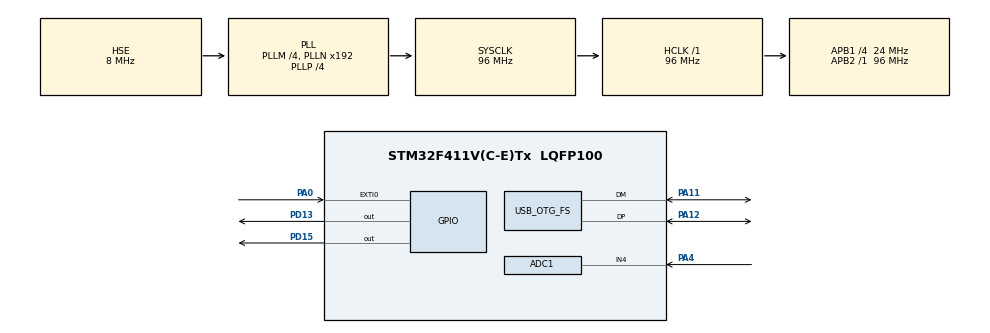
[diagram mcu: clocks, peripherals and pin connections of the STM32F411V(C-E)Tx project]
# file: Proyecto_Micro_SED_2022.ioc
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ADC1.Channel-2\#ChannelRegularConversion=ADC_CHANNEL_4
ADC1.NbrOfConversionFlag=1
ADC1.Rank-2\#ChannelRegularConversion=1
ADC1.Resolution=ADC_RESOLUTION_8B
ADC1.SamplingTime-2\#ChannelRegularConversion=ADC_SAMPLETIME_3CYCLES
ADC1.master=1
Mcu.Family=STM32F4
Mcu.Name=STM32F411V(C-E)Tx
Mcu.Package=LQFP100
NVIC.EXTI0_IRQn=true\:0\:0\:false\:false\:true\:true\:true\:true
NVIC.OTG_FS_IRQn=true\:0\:0\:false\:false\:true\:true\:true\:true
NVIC.PriorityGroup=NVIC_PRIORITYGROUP_0
NVIC.TIM2_IRQn=true\:0\:0\:false\:false\:true\:true\:true\:true
NVIC.TIM3_IRQn=true\:0\:0\:false\:false\:true\:true\:true\:true
PA0-WKUP.Signal=GPXTI0
PA11.Mode=Device_Only
PA11.Signal=USB_OTG_FS_DM
PA12.Mode=Device_Only
PA12.Signal=USB_OTG_FS_DP
PA4.Signal=ADCx_IN4
PC14-OSC32_IN.Mode=LSE-External-Oscillator
PC14-OSC32_IN.Signal=RCC_OSC32_IN
PC15-OSC32_OUT.Mode=LSE-External-Oscillator
PC15-OSC32_OUT.Signal=RCC_OSC32_OUT
PD13.Signal=GPIO_Output
PD15.Signal=GPIO_Output
PH0\ -\ OSC_IN.Mode=HSE-External-Oscillator
PH0\ -\ OSC_IN.Signal=RCC_OSC_IN
PH1\ -\ OSC_OUT.Mode=HSE-External-Oscillator
PH1\ -\ OSC_OUT.Signal=RCC_OSC_OUT
ProjectManager.HeapSize=0x200
ProjectManager.StackSize=0x400
ProjectManager.TargetToolchain=STM32CubeIDE
RCC.48MHZClocksFreq_Value=48000000
RCC.AHBFreq_Value=96000000
RCC.APB1CLKDivider=RCC_HCLK_DIV4
RCC.APB1Freq_Value=24000000
RCC.APB1TimFreq_Value=48000000
RCC.APB2Freq_Value=96000000
RCC.APB2TimFreq_Value=96000000
RCC.CortexFreq_Value=96000000
RCC.HCLKFreq_Value=96000000
RCC.HSE_VALUE=8000000
RCC.HSI_VALUE=16000000
RCC.PLLI2SM=5
RCC.PLLI2SN=200
RCC.PLLM=4
RCC.PLLP=RCC_PLLP_DIV4
RCC.PLLQ=8
RCC.SYSCLKFreq_VALUE=96000000
RCC.SYSCLKSource=RCC_SYSCLKSOURCE_PLLCLK
RCC.VCOOutputFreq_Value=384000000
SH.ADCx_IN4.0=ADC1_IN4,IN4
TIM2.AutoReloadPreload=TIM_AUTORELOAD_PRELOAD_ENABLE
TIM2.Period=3599999
TIM2.Prescaler=47999
TIM3.AutoReloadPreload=TIM_AUTORELOAD_PRELOAD_ENABLE
TIM3.Period=59999
TIM3.Prescaler=47999
TIM5.Period=0xffff-1
TIM5.Prescaler=48-1
USB_DEVICE.CLASS_NAME_FS=CDC
USB_DEVICE.VirtualMode=Cdc
USB_DEVICE.VirtualModeFS=Cdc_FS
USB_OTG_FS.VirtualMode=Device_Only
VP_TIM2_VS_ClockSourceINT.Mode=Internal
VP_TIM3_VS_ClockSourceINT.Mode=Internal
VP_TIM5_VS_ClockSourceINT.Mode=Internal
VP_USB_DEVICE_VS_USB_DEVICE_CDC_FS.Mode=CDC_FS
board=STM32F411E-DISCO

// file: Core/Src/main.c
/* USER CODE BEGIN Header */
/**
  ******************************************************************************
  * @file           : main.c
  * @brief          : Main program body
  ******************************************************************************
  * @attention
  *
  * Copyright (c) 2023 STMicroelectronics.
  * All rights reserved.
  *
  * This software is licensed under terms that can be found in the LICENSE file
  * in the root directory of this software component.
  * If no LICENSE file comes with this software, it is provided AS-IS.
  *
  ******************************************************************************
  */
/* USER CODE END Header */
#include "main.h"
#include "usb_device.h"

/* USER CODE BEGIN Includes */
#include "usbd_cdc_if.h"
#include "string.h"
#include "stdio.h"
/* USER CODE END Includes */

/* USER CODE BEGIN PTD */
typedef enum{
	ESPERA,
	MANUAL,
	HORARIO,
	AUTOMATICO,
	ENCENDIDO,
	APAGADO
} State_Type;
/* USER CODE END PTD */

/* USER CODE BEGIN PD */
#define DEBOUNCE_DELAY 50

#define LDR_umbral 100
/* USER CODE END PD */

ADC_HandleTypeDef hadc1;

TIM_HandleTypeDef htim2;
TIM_HandleTypeDef htim3;
TIM_HandleTypeDef htim5;

/* USER CODE BEGIN PV */

uint8_t ADC_val;

volatile int minutos = 0;
volatile int horas = 0;
volatile int tiempo_min = 0;
volatile int tiempo_hor = 0;
volatile int contando = 0;

uint8_t buffer[64]; //Para recibir lo que el terminal envia al micro

char* str_CAMBIAR_A_MODO = "CAMBIAR A MODO";
char* str_ESPERA = "ESPERA";
char* str_MANUAL = "MANUAL";
char* str_HORARIO = "HORARIO";
char* str_AUTOMATICO = "AUTOMATICO";

char* str_ENCENDER_POR = "ENCENDER POR";
char* str_APAGAR = "APAGAR";

volatile int last_interrupt_time = 0;

/* USER CODE END PV */

void SystemClock_Config(void);
static void MX_GPIO_Init(void);
static void MX_ADC1_Init(void);
static void MX_TIM3_Init(void);
static void MX_TIM5_Init(void);
static void MX_TIM2_Init(void);
/* USER CODE BEGIN PFP */
void state_machine_init(void);
void ESPERA_function(void);
void MANUAL_function(void);
void HORARIO_function(void);
void AUTOMATICO_function(void);
void ENCENDIDO_function(void);
void APAGADO_function(void);
void HAL_TIM_PeriodElapsedCallback(TIM_HandleTypeDef *htim);
void HAL_GPIO_EXTI_Callback(uint16_t GPIO_Pin);
/* USER CODE END PFP */

/* USER CODE BEGIN 0 */

/************************************* TIEMPO ********************************************/

void TemporizadorMinutos(int tiempo){
	contando = 1;
	minutos = 0;
	tiempo_min = tiempo;
	//fin_de_carrera_min = 0;
	HAL_TIM_Base_Start_IT(&htim3);
}

void TemporizadorHoras(int tiempo){
	horas = 0;
	contando = 1;
	tiempo_hor = tiempo;
	//fin_de_carrera_hor = 0;
	HAL_TIM_Base_Start_IT(&htim2);
}

/************************************* FSM ********************************************/

static void (*state_table []) (void) ={ESPERA_function,MANUAL_function,HORARIO_function,AUTOMATICO_function,ENCENDIDO_function,APAGADO_function};
static State_Type Current_State;
volatile int btn_pressed;

/*********************************** GENERAL ********************************************/

void displayModo(int k){
	int i;
	char msg[19];
	switch(k){
	case 0:
		strcpy(msg,"MODO: ESPERA    \r\n");
		break;
	case 1:
		strcpy(msg,"MODO: MANUAL    \r\n");
		break;
	case 2:
		strcpy(msg,"MODO: HORARIO   \r\n");
		break;
	case 3:
		strcpy(msg,"MODO: AUTOMATICO\r\n");
		break;
	}
	uint8_t data[sizeof(msg)];
	for(i = 0;i<=sizeof(msg);i++){
	  data[i] = msg[i];
	};
	CDC_Transmit_FS(data, sizeof(data));
}

void Delay(uint16_t time)
{
	__HAL_TIM_SET_COUNTER(&htim5,0);
	while ((__HAL_TIM_GET_COUNTER(&htim5))<time);
}

void Display_Temp(float Temp)
{
	int i;
	char str[30] = {0};
	sprintf (str, "TEMP:- %.2f ", Temp);
	strcat(str,"\r\n");
	uint8_t data[sizeof(str)];
	for(i = 0;i<=sizeof(str);i++){
	  data[i] = str[i];
	};
	CDC_Transmit_FS(data, sizeof(data));
	//CDC_Transmit_FS({'C','\r','\n'},3);
}

void Display_Rh (float Rh)
{
	int i;
	char str[30] = {0};
	sprintf (str, "RH:- %.2f ", Rh);
	strcat(str,"\r\n");
	uint8_t data[sizeof(str)];
	for(i = 0;i<=sizeof(str);i++){
	  data[i] = str[i];
	};
	CDC_Transmit_FS(data, sizeof(data));
	//CDC_Transmit_FS("%\r\n");
}

void Display_Luz(uint8_t Luz){
	int i;
	char str[30] = {0};
	sprintf (str, "Luz:- %d ", Luz);
	strcat(str,"\r\n");
	uint8_t data[sizeof(str)];
	for(i = 0;i<=sizeof(str);i++){
	  data[i] = str[i];
	};
	CDC_Transmit_FS(data, sizeof(data));
	//CDC_Transmit_FS("\r\n");
}

uint8_t Rh_byte1, Rh_byte2, Temp_byte1, Temp_byte2;
uint16_t SUM, RH, TEMP;

volatile float Temperature = 0;
volatile float Humidity = 0;
volatile uint8_t Presence = 0;

void Set_Pin_Output (GPIO_TypeDef *GPIOx, uint16_t GPIO_Pin)
{
	GPIO_InitTypeDef GPIO_InitStruct = {0};
	GPIO_InitStruct.Pin = GPIO_Pin;
	GPIO_InitStruct.Mode = GPIO_MODE_OUTPUT_PP;
	GPIO_InitStruct.Speed = GPIO_SPEED_FREQ_LOW;
	HAL_GPIO_Init(GPIOx, &GPIO_InitStruct);
}

void Set_Pin_Input (GPIO_TypeDef *GPIOx, uint16_t GPIO_Pin)
{
	GPIO_InitTypeDef GPIO_InitStruct = {0};
	GPIO_InitStruct.Pin = GPIO_Pin;
	GPIO_InitStruct.Mode = GPIO_MODE_INPUT;
	GPIO_InitStruct.Pull = GPIO_PULLUP;
	HAL_GPIO_Init(GPIOx, &GPIO_InitStruct);
}

/*********************************** DHT11 FUNCTIONS ********************************************/

#define DHT11_PORT GPIOD
#define DHT11_PIN  GPIO_PIN_13

void DHT11_Start (void)
{
	Set_Pin_Output (DHT11_PORT, DHT11_PIN);  // set the pin as output
	HAL_GPIO_WritePin (DHT11_PORT, DHT11_PIN, 0);   // pull the pin low
	Delay(18000);   // wait for 18ms
    HAL_GPIO_WritePin (DHT11_PORT, DHT11_PIN, 1);   // pull the pin high
	Delay (20);   // wait for 20us
	Set_Pin_Input(DHT11_PORT, DHT11_PIN);    // set as input
}

uint8_t DHT11_Check_Response (void)
{
	uint8_t Response = 0;
	Delay(40);
	if (!(HAL_GPIO_ReadPin (DHT11_PORT, DHT11_PIN)))
	{
		Delay(80);
		if ((HAL_GPIO_ReadPin (DHT11_PORT, DHT11_PIN))) Response = 1;
		else Response = -1; // 255
	}
	while ((HAL_GPIO_ReadPin(DHT11_PORT, DHT11_PIN)));   // wait for the pin to go low

	return Response;
}

uint8_t DHT11_Read (void)
{
	uint8_t i,j;
	for (j=0;j<8;j++)
	{
		while (!(HAL_GPIO_ReadPin (DHT11_PORT, DHT11_PIN)));   // wait for the pin to go high
		Delay(40);   // wait for 40 us
		if (!(HAL_GPIO_ReadPin (DHT11_PORT, DHT11_PIN)))   // if the pin is low
		{
			i&= ~(1<<(7-j));   // write 0
		}
		else i|= (1<<(7-j));  // if the pin is high, write 1
		while ((HAL_GPIO_ReadPin (DHT11_PORT, DHT11_PIN)));  // wait for the pin to go low
	}
	return i;
}

/* USER CODE END 0 */

int main(void)
{

  /* MCU Configuration--------------------------------------------------------*/

  /* Reset of all peripherals, Initializes the Flash interface and the Systick. */
  HAL_Init();

  /* Configure the system clock */
  SystemClock_Config();

  /* Initialize all configured peripherals */
  MX_GPIO_Init();
  MX_ADC1_Init();
  MX_TIM3_Init();
  MX_TIM5_Init();
  MX_USB_DEVICE_Init();
  MX_TIM2_Init();
  /* USER CODE BEGIN 2 */
  state_machine_init();
  HAL_TIM_Base_Start(&htim5);
  /* USER CODE END 2 */

  /* Infinite loop */
  /* USER CODE BEGIN WHILE */
  while (1)
  {
	  state_table[Current_State]();
    /* USER CODE END WHILE */

  }
}

void SystemClock_Config(void)
{
  RCC_OscInitTypeDef RCC_OscInitStruct = {0};
  RCC_ClkInitTypeDef RCC_ClkInitStruct = {0};

  /** Configure the main internal regulator output voltage
  */
  __HAL_RCC_PWR_CLK_ENABLE();
  __HAL_PWR_VOLTAGESCALING_CONFIG(PWR_REGULATOR_VOLTAGE_SCALE1);

  /** Initializes the RCC Oscillators according to the specified parameters
  * in the RCC_OscInitTypeDef structure.
  */
  RCC_OscInitStruct.OscillatorType = RCC_OSCILLATORTYPE_HSE;
  RCC_OscInitStruct.HSEState = RCC_HSE_ON;
  RCC_OscInitStruct.PLL.PLLState = RCC_PLL_ON;
  RCC_OscInitStruct.PLL.PLLSource = RCC_PLLSOURCE_HSE;
  RCC_OscInitStruct.PLL.PLLM = 4;
  RCC_OscInitStruct.PLL.PLLN = 192;
  RCC_OscInitStruct.PLL.PLLP = RCC_PLLP_DIV4;
  RCC_OscInitStruct.PLL.PLLQ = 8;
  if (HAL_RCC_OscConfig(&RCC_OscInitStruct) != HAL_OK)
  {
    Error_Handler();
  }

  /** Initializes the CPU, AHB and APB buses clocks
  */
  RCC_ClkInitStruct.ClockType = RCC_CLOCKTYPE_HCLK|RCC_CLOCKTYPE_SYSCLK
                              |RCC_CLOCKTYPE_PCLK1|RCC_CLOCKTYPE_PCLK2;
  RCC_ClkInitStruct.SYSCLKSource = RCC_SYSCLKSOURCE_PLLCLK;
  RCC_ClkInitStruct.AHBCLKDivider = RCC_SYSCLK_DIV1;
  RCC_ClkInitStruct.APB1CLKDivider = RCC_HCLK_DIV4;
  RCC_ClkInitStruct.APB2CLKDivider = RCC_HCLK_DIV1;

  if (HAL_RCC_ClockConfig(&RCC_ClkInitStruct, FLASH_LATENCY_3) != HAL_OK)
  {
    Error_Handler();
  }
}

static void MX_ADC1_Init(void)
{

  ADC_ChannelConfTypeDef sConfig = {0};

  /** Configure the global features of the ADC (Clock, Resolution, Data Alignment and number of conversion)
  */
  hadc1.Instance = ADC1;
  hadc1.Init.ClockPrescaler = ADC_CLOCK_SYNC_PCLK_DIV4;
  hadc1.Init.Resolution = ADC_RESOLUTION_8B;
  hadc1.Init.ScanConvMode = DISABLE;
  hadc1.Init.ContinuousConvMode = DISABLE;
  hadc1.Init.DiscontinuousConvMode = DISABLE;
  hadc1.Init.ExternalTrigConvEdge = ADC_EXTERNALTRIGCONVEDGE_NONE;
  hadc1.Init.ExternalTrigConv = ADC_SOFTWARE_START;
  hadc1.Init.DataAlign = ADC_DATAALIGN_RIGHT;
  hadc1.Init.NbrOfConversion = 1;
  hadc1.Init.DMAContinuousRequests = DISABLE;
  hadc1.Init.EOCSelection = ADC_EOC_SINGLE_CONV;
  if (HAL_ADC_Init(&hadc1) != HAL_OK)
  {
    Error_Handler();
  }

  /** Configure for the selected ADC regular channel its corresponding rank in the sequencer and its sample time.
  */
  sConfig.Channel = ADC_CHANNEL_4;
  sConfig.Rank = 1;
  sConfig.SamplingTime = ADC_SAMPLETIME_3CYCLES;
  if (HAL_ADC_ConfigChannel(&hadc1, &sConfig) != HAL_OK)
  {
    Error_Handler();
  }

}

static void MX_TIM2_Init(void)
{

  TIM_ClockConfigTypeDef sClockSourceConfig = {0};
  TIM_MasterConfigTypeDef sMasterConfig = {0};

  htim2.Instance = TIM2;
  htim2.Init.Prescaler = 47999;
  htim2.Init.CounterMode = TIM_COUNTERMODE_UP;
  htim2.Init.Period = 3599999;
  htim2.Init.ClockDivision = TIM_CLOCKDIVISION_DIV1;
  htim2.Init.AutoReloadPreload = TIM_AUTORELOAD_PRELOAD_ENABLE;
  if (HAL_TIM_Base_Init(&htim2) != HAL_OK)
  {
    Error_Handler();
  }
  sClockSourceConfig.ClockSource = TIM_CLOCKSOURCE_INTERNAL;
  if (HAL_TIM_ConfigClockSource(&htim2, &sClockSourceConfig) != HAL_OK)
  {
    Error_Handler();
  }
  sMasterConfig.MasterOutputTrigger = TIM_TRGO_RESET;
  sMasterConfig.MasterSlaveMode = TIM_MASTERSLAVEMODE_DISABLE;
  if (HAL_TIMEx_MasterConfigSynchronization(&htim2, &sMasterConfig) != HAL_OK)
  {
    Error_Handler();
  }

}

static void MX_TIM3_Init(void)
{

  TIM_ClockConfigTypeDef sClockSourceConfig = {0};
  TIM_MasterConfigTypeDef sMasterConfig = {0};

  htim3.Instance = TIM3;
  htim3.Init.Prescaler = 47999;
  htim3.Init.CounterMode = TIM_COUNTERMODE_UP;
  htim3.Init.Period = 59999;
  htim3.Init.ClockDivision = TIM_CLOCKDIVISION_DIV1;
  htim3.Init.AutoReloadPreload = TIM_AUTORELOAD_PRELOAD_ENABLE;
  if (HAL_TIM_Base_Init(&htim3) != HAL_OK)
  {
    Error_Handler();
  }
  sClockSourceConfig.ClockSource = TIM_CLOCKSOURCE_INTERNAL;
  if (HAL_TIM_ConfigClockSource(&htim3, &sClockSourceConfig) != HAL_OK)
  {
    Error_Handler();
  }
  sMasterConfig.MasterOutputTrigger = TIM_TRGO_RESET;
  sMasterConfig.MasterSlaveMode = TIM_MASTERSLAVEMODE_DISABLE;
  if (HAL_TIMEx_MasterConfigSynchronization(&htim3, &sMasterConfig) != HAL_OK)
  {
    Error_Handler();
  }

}

static void MX_TIM5_Init(void)
{

  TIM_ClockConfigTypeDef sClockSourceConfig = {0};
  TIM_MasterConfigTypeDef sMasterConfig = {0};

  htim5.Instance = TIM5;
  htim5.Init.Prescaler = 48-1;
  htim5.Init.CounterMode = TIM_COUNTERMODE_UP;
  htim5.Init.Period = 0xffff-1;
  htim5.Init.ClockDivision = TIM_CLOCKDIVISION_DIV1;
  htim5.Init.AutoReloadPreload = TIM_AUTORELOAD_PRELOAD_DISABLE;
  if (HAL_TIM_Base_Init(&htim5) != HAL_OK)
  {
    Error_Handler();
  }
  sClockSourceConfig.ClockSource = TIM_CLOCKSOURCE_INTERNAL;
  if (HAL_TIM_ConfigClockSource(&htim5, &sClockSourceConfig) != HAL_OK)
  {
    Error_Handler();
  }
  sMasterConfig.MasterOutputTrigger = TIM_TRGO_RESET;
  sMasterConfig.MasterSlaveMode = TIM_MASTERSLAVEMODE_DISABLE;
  if (HAL_TIMEx_MasterConfigSynchronization(&htim5, &sMasterConfig) != HAL_OK)
  {
    Error_Handler();
  }

}

static void MX_GPIO_Init(void)
{
  GPIO_InitTypeDef GPIO_InitStruct = {0};

  /* GPIO Ports Clock Enable */
  __HAL_RCC_GPIOC_CLK_ENABLE();
  __HAL_RCC_GPIOH_CLK_ENABLE();
  __HAL_RCC_GPIOA_CLK_ENABLE();
  __HAL_RCC_GPIOD_CLK_ENABLE();

  /*Configure GPIO pin Output Level */
  HAL_GPIO_WritePin(GPIOD, GPIO_PIN_13|GPIO_PIN_15, GPIO_PIN_RESET);

  /*Configure GPIO pin : PA0 */
  GPIO_InitStruct.Pin = GPIO_PIN_0;
  GPIO_InitStruct.Mode = GPIO_MODE_IT_RISING;
  GPIO_InitStruct.Pull = GPIO_NOPULL;
  HAL_GPIO_Init(GPIOA, &GPIO_InitStruct);

  /*Configure GPIO pins : PD13 PD15 */
  GPIO_InitStruct.Pin = GPIO_PIN_13|GPIO_PIN_15;
  GPIO_InitStruct.Mode = GPIO_MODE_OUTPUT_PP;
  GPIO_InitStruct.Pull = GPIO_NOPULL;
  GPIO_InitStruct.Speed = GPIO_SPEED_FREQ_LOW;
  HAL_GPIO_Init(GPIOD, &GPIO_InitStruct);

  /* EXTI interrupt init*/
  HAL_NVIC_SetPriority(EXTI0_IRQn, 0, 0);
  HAL_NVIC_EnableIRQ(EXTI0_IRQn);

}

/* USER CODE BEGIN 4 */

void MedirSensores(){
	//DATOS DE LUZ
	HAL_ADC_Start(&hadc1);
	if (HAL_ADC_PollForConversion(&hadc1, 100) == HAL_OK)
	{
	ADC_val = HAL_ADC_GetValue(&hadc1);
	}
	HAL_ADC_Stop(&hadc1);

	//HUMEDAD Y TEMPERATURA
//	DHT11_Start();
//	//Presence = DHT11_Check_Response();
//	Rh_byte1 = DHT11_Read ();
//	Rh_byte2 = DHT11_Read ();
//	Temp_byte1 = DHT11_Read ();
//	Temp_byte2 = DHT11_Read ();
//	SUM = DHT11_Read();
//
//	TEMP = Temp_byte1;
//	RH = Rh_byte1;
//
//	Temperature = (float) TEMP;
//	Humidity = (float) RH;
}

void state_machine_init(void){
	displayModo(ESPERA);
	Current_State = ESPERA;
	btn_pressed = 0;
}
void ESPERA_function(void){
	char *s  = strstr((char*)buffer,str_CAMBIAR_A_MODO);
	char *sH = strstr((char*)buffer,str_HORARIO);
	char *sM = strstr((char*)buffer,str_MANUAL);
	char *sA = strstr((char*)buffer,str_AUTOMATICO);
	//Funcionamiento del modo ESPERA
	//
	if(btn_pressed == 1){
		btn_pressed = 0;
		displayModo(MANUAL);
		buffer[0] = '\0';
		Current_State = MANUAL;
	}
	else if(s != NULL){
		if(sH != NULL){
			displayModo(HORARIO);
			buffer[0] = '\0';
			Current_State = HORARIO;
		}
		else if(sM != NULL){
			displayModo(MANUAL);
			buffer[0] = '\0';
			Current_State = MANUAL;
		}
		else if(sA != NULL){
			displayModo(AUTOMATICO);
			buffer[0] = '\0';
			Current_State = AUTOMATICO;
		}
	}
}
void MANUAL_function(void){
	char *s     = strstr((char*)buffer,str_CAMBIAR_A_MODO);
	char *sE    = strstr((char*)buffer,str_ESPERA);
	char *sH    = strstr((char*)buffer,str_HORARIO);
	char *sA    = strstr((char*)buffer,str_AUTOMATICO);
	char *s_ON  = strstr((char*)buffer,str_ENCENDER_POR);
	//Funcionamiento del modo MANUAL
	if(s_ON != NULL){
		char arr_tiempo[2] = {buffer[13],buffer[14]};
		int tiempo = atoi(arr_tiempo);
		TemporizadorMinutos(tiempo);
		memset(&buffer[0], 0, sizeof(buffer));
	}
	if(contando == 1){
		Current_State = ENCENDIDO;
	}
	//
	if(btn_pressed == 1){
		btn_pressed = 0;
		displayModo(HORARIO);
		buffer[0] = '\0';
		Current_State = HORARIO;
	}
	else if(s != NULL){
		if(sH != NULL){
			displayModo(HORARIO);
			buffer[0] = '\0';
			Current_State = HORARIO;
		}
		else if(sE != NULL){
			displayModo(ESPERA);
			buffer[0] = '\0';
			Current_State = ESPERA;
		}
		else if(sA != NULL){
			displayModo(AUTOMATICO);
			buffer[0] = '\0';
			Current_State = AUTOMATICO;
		}
	}
}
void HORARIO_function(void){
	char *s  = strstr((char*)buffer,str_CAMBIAR_A_MODO);
	char *sE = strstr((char*)buffer,str_ESPERA);
	char *sM = strstr((char*)buffer,str_MANUAL);
	char *sA = strstr((char*)buffer,str_AUTOMATICO);
	//Funcionamiento del modo horario

	//
	if(btn_pressed == 1){
		btn_pressed = 0;
		displayModo(AUTOMATICO);
		buffer[0] = '\0';
		Current_State = AUTOMATICO;
	}
	else if(s != NULL){
		if(sM != NULL){
			displayModo(MANUAL);
			buffer[0] = '\0';
			Current_State = MANUAL;
		}
		else if(sE != NULL){
			displayModo(ESPERA);
			buffer[0] = '\0';
			Current_State = ESPERA;
		}
		else if(sA != NULL){
			displayModo(AUTOMATICO);
			buffer[0] = '\0';
			Current_State = AUTOMATICO;
		}
	}
}

void AUTOMATICO_function(void){
	char *s  = strstr((char*)buffer,str_CAMBIAR_A_MODO);
	char *sE = strstr((char*)buffer,str_ESPERA);
	char *sM = strstr((char*)buffer,str_MANUAL);
	char *sH = strstr((char*)buffer,str_HORARIO);
	//Funcionamiento del modo automático
	MedirSensores();
	//MOSTRAR LOS DATOS
	//
	if(btn_pressed == 1){
		btn_pressed = 0;
		displayModo(ESPERA);
		buffer[0] = '\0';
		Current_State = ESPERA;
	}
	else if(s != NULL){
		if(sM != NULL){
			displayModo(MANUAL);
			buffer[0] = '\0';
			Current_State = MANUAL;
		}
		else if(sE != NULL){
			displayModo(ESPERA);
			buffer[0] = '\0';
			Current_State = ESPERA;
		}
		else if(sH != NULL){
			displayModo(HORARIO);
			buffer[0] = '\0';
			Current_State = HORARIO;
		}
	}
}

void ENCENDIDO_function(void){
	char *s_OFF = strstr((char*)buffer,str_APAGAR);
	HAL_GPIO_WritePin(GPIOD, GPIO_PIN_15, 1);
	if(s_OFF != NULL || contando == 0){
		Current_State = APAGADO;
	}
}
void APAGADO_function(void){
	HAL_GPIO_WritePin(GPIOD, GPIO_PIN_15, 0);
	Current_State = ESPERA;
}

void HAL_TIM_PeriodElapsedCallback(TIM_HandleTypeDef *htim)
{
	if(htim->Instance == TIM2){ //Horas
		if(horas >= tiempo_hor){
			contando = 0;
			HAL_TIM_Base_Stop_IT(&htim2);
			horas = 0;
		}
		horas++;
	}
	if(htim->Instance == TIM3){ //Minutos
		if(minutos >= tiempo_min){
			contando = 0;
			HAL_TIM_Base_Stop_IT(&htim3);
			minutos = 0;
		}
		minutos++;
	}
}
void HAL_GPIO_EXTI_Callback(uint16_t GPIO_Pin)
{
	while(HAL_GPIO_ReadPin(GPIOA, GPIO_PIN_0)){};
    if (GPIO_Pin == GPIO_PIN_0) // check if the interrupt was triggered by PA0
    {
        uint32_t current_time = HAL_GetTick(); // get current time
        if (current_time < last_interrupt_time + DEBOUNCE_DELAY) // check if the interrupt was triggered within the debounce delay
        {
            return; // ignore interrupt
        }
        last_interrupt_time = current_time; // update last interrupt time
        btn_pressed = 1;
    }
}
/* USER CODE END 4 */

void Error_Handler(void)
{
  __disable_irq();
  while (1)
  {
  }
}
